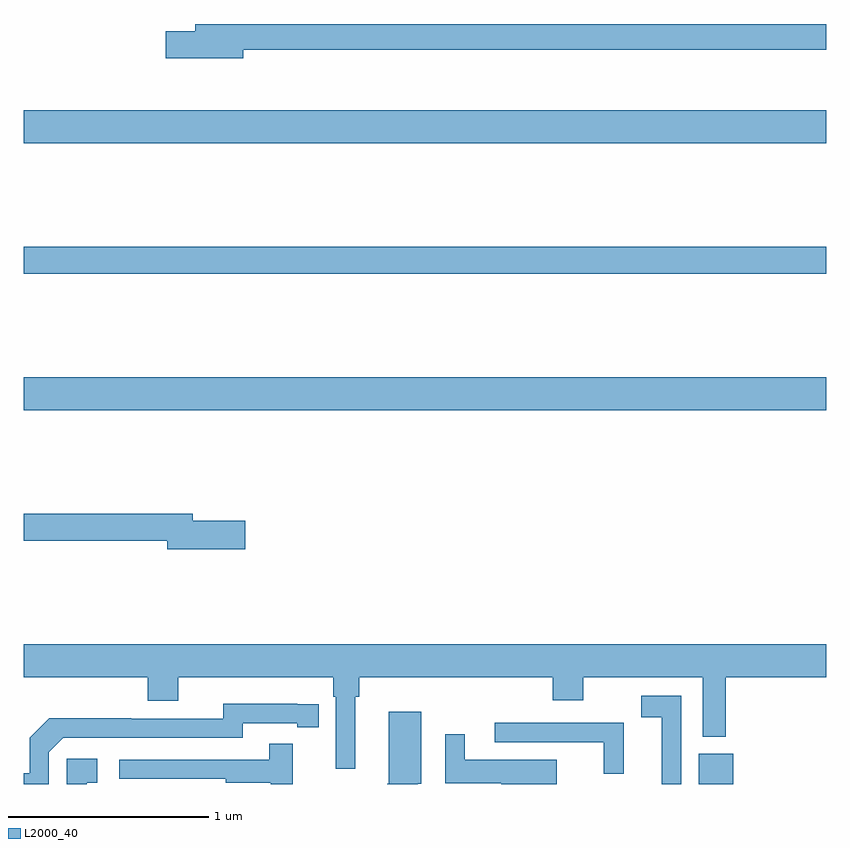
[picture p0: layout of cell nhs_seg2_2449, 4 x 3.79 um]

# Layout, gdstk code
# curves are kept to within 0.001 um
import gdstk
lib = gdstk.Library(unit=1e-6, precision=1e-09)
def R(c, l, rs):  # rectangles x0, y0, x1, y1
    for r in rs: c.add(gdstk.rectangle(r[:2], r[2:], *l))
def P(c, l, *ps):  # polygons
    for p in ps: c.add(gdstk.Polygon(p, *l))
L2000_40 = (2000, 40)

nhs_seg2_2449 = lib.new_cell('nhs_seg2_2449')
R(nhs_seg2_2449, L2000_40, [(242.366,617.8,242.536,617.95), (239,619.664,243,619.828), (239,620.344,243,620.48), (239,620.996,243,621.16)])
P(nhs_seg2_2449, L2000_40, [(240.094,621.462),(243,621.462),(243,621.59),(239.855,621.59),(239.855,621.554),(239.706,621.554),(239.706,621.419),(240.094,621.419)],
  [(240.103,619.112),(239.842,619.112),(239.842,619.148),(239,619.148),(239,619.012),(239.714,619.012),(239.714,618.97),(240.103,618.97)],
  [(240.652,618.236),(240.671,618.236),(240.671,618.332),(241.637,618.332),(241.637,618.218),(241.789,618.218),(241.789,618.332),(242.385,618.332),(242.385,618.035),(242.501,618.035),(242.501,618.332),(243,618.332),(243,618.496),(239,618.496),(239,618.332),(239.618,618.332),(239.618,618.215),(239.77,618.215),(239.77,618.332),(240.542,618.332),(240.542,618.236),(240.555,618.236),(240.555,617.877),(240.652,617.877)],
  [(242.277,618.24),(242.079,618.24),(242.079,618.132),(242.18,618.132),(242.18,617.848),(242.181,617.848),(242.181,617.8),(242.277,617.8)],
  [(239.124,617.958),(239.196,618.03),(240.09,618.03),(240.09,618.102),(240.362,618.102),(240.362,618.082),(240.47,618.082),(240.47,618.198),(239.994,618.199),(239.994,618.126),(239.534,618.126),(239.534,618.128),(239.126,618.128),(239.028,618.03),(239.028,617.853),(239,617.853),(239,617.8),(239.124,617.8)],
  [(240.964,617.802),(240.982,617.802),(240.982,618.16),(240.818,618.16),(240.818,617.802),(240.811,617.802),(240.811,617.8),(240.964,617.8)],
  [(241.991,618.105),(241.347,618.105),(241.347,618.009),(241.891,618.009),(241.891,617.85),(241.991,617.85)],
  [(241.657,617.92),(241.198,617.92),(241.198,618.049),(241.101,618.049),(241.101,617.804),(241.38,617.804),(241.38,617.8),(241.657,617.8)],
  [(240.341,618.001),(240.223,618.001),(240.223,617.922),(239.475,617.922),(239.475,617.826),(240.007,617.826),(240.007,617.806),(240.231,617.806),(240.231,617.8),(240.341,617.8)],
  [(239.312,617.805),(239.365,617.805),(239.365,617.926),(239.214,617.926),(239.214,617.8),(239.312,617.8)])

lib.write_gds('nhs_seg2_2449.gds')
